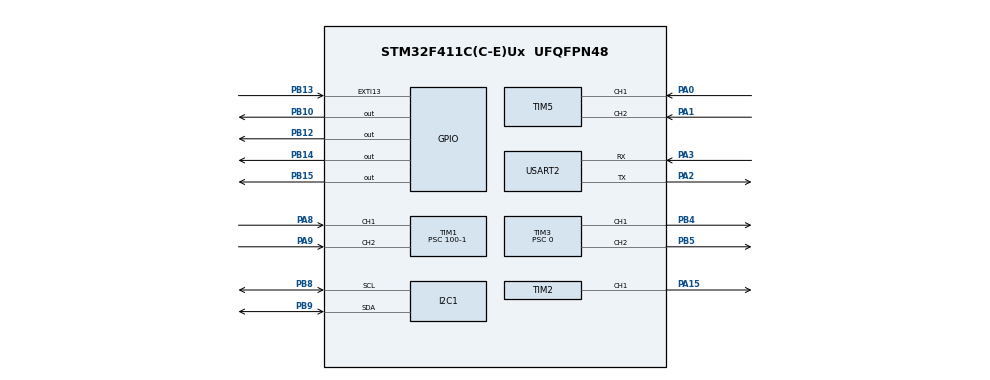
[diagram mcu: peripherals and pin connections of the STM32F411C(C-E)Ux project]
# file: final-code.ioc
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Mcu.Family=STM32F4
Mcu.Name=STM32F411C(C-E)Ux
Mcu.Package=UFQFPN48
NVIC.EXTI15_10_IRQn=true\:0\:0\:false\:false\:true\:true\:true\:true
NVIC.PriorityGroup=NVIC_PRIORITYGROUP_4
NVIC.TIM1_BRK_TIM9_IRQn=true\:0\:0\:false\:false\:true\:true\:true\:true
NVIC.TIM1_CC_IRQn=true\:0\:0\:false\:false\:true\:true\:true\:true
NVIC.TIM1_TRG_COM_TIM11_IRQn=true\:0\:0\:false\:false\:true\:true\:true\:true
NVIC.TIM1_UP_TIM10_IRQn=true\:0\:0\:false\:false\:true\:true\:true\:true
NVIC.TIM5_IRQn=true\:0\:0\:false\:false\:true\:true\:true\:true
PA0-WKUP.Signal=S_TIM5_CH1
PA1.Signal=S_TIM5_CH2
PA13.Mode=Trace_Asynchronous_SW
PA13.Signal=SYS_JTMS-SWDIO
PA14.Mode=Trace_Asynchronous_SW
PA14.Signal=SYS_JTCK-SWCLK
PA15.Signal=S_TIM2_CH1_ETR
PA2.Mode=Asynchronous
PA2.Signal=USART2_TX
PA3.Mode=Asynchronous
PA3.Signal=USART2_RX
PA8.Signal=S_TIM1_CH1
PA9.Signal=S_TIM1_CH2
PB10.Signal=GPIO_Output
PB12.Signal=GPIO_Output
PB13.Signal=GPXTI13
PB14.Signal=GPIO_Output
PB15.Signal=GPIO_Output
PB3.Mode=Trace_Asynchronous_SW
PB3.Signal=SYS_JTDO-SWO
PB4.Signal=S_TIM3_CH1
PB5.Signal=S_TIM3_CH2
PB8.Mode=I2C
PB8.Signal=I2C1_SCL
PB9.Mode=I2C
PB9.Signal=I2C1_SDA
ProjectManager.HeapSize=0x200
ProjectManager.StackSize=0x400
ProjectManager.TargetToolchain=STM32CubeIDE
RCC.48MHZClocksFreq_Value=50000000
RCC.AHBFreq_Value=100000000
RCC.APB1CLKDivider=RCC_HCLK_DIV2
RCC.APB1Freq_Value=50000000
RCC.APB1TimFreq_Value=100000000
RCC.APB2Freq_Value=100000000
RCC.APB2TimFreq_Value=100000000
RCC.CortexFreq_Value=100000000
RCC.HCLKFreq_Value=100000000
RCC.HSE_VALUE=25000000
RCC.HSI_VALUE=16000000
RCC.LSE_VALUE=32768
RCC.PLLM=8
RCC.PLLN=100
RCC.SYSCLKFreq_VALUE=100000000
RCC.SYSCLKSource=RCC_SYSCLKSOURCE_PLLCLK
RCC.VCOOutputFreq_Value=200000000
SH.S_TIM1_CH1.0=TIM1_CH1,Input_Capture1_from_TI1
SH.S_TIM1_CH2.0=TIM1_CH2,Input_Capture2_from_TI2
SH.S_TIM2_CH1_ETR.0=TIM2_CH1,PWM Generation1 CH1
SH.S_TIM3_CH1.0=TIM3_CH1,PWM Generation1 CH1
SH.S_TIM3_CH2.0=TIM3_CH2,PWM Generation2 CH2
SH.S_TIM5_CH1.0=TIM5_CH1,Encoder_Interface
SH.S_TIM5_CH2.0=TIM5_CH2,Encoder_Interface
TIM1.Channel-Input_Capture1_from_TI1=TIM_CHANNEL_1
TIM1.Channel-Input_Capture2_from_TI2=TIM_CHANNEL_2
TIM1.ICPolarity_CH1=TIM_INPUTCHANNELPOLARITY_BOTHEDGE
TIM1.ICPolarity_CH2=TIM_INPUTCHANNELPOLARITY_BOTHEDGE
TIM1.Prescaler=100-1
TIM2.Channel-PWM\ Generation1\ CH1=TIM_CHANNEL_1
TIM2.Period=5000-1
TIM3.Channel-PWM\ Generation1\ CH1=TIM_CHANNEL_1
TIM3.Channel-PWM\ Generation2\ CH2=TIM_CHANNEL_2
TIM3.Period=5000-1
TIM3.Prescaler=0
TIM5.EncoderMode=TIM_ENCODERMODE_TI12
USART2.VirtualMode=VM_ASYNC
VP_TIM1_VS_ClockSourceINT.Mode=Internal
VP_TIM2_VS_ClockSourceINT.Mode=Internal
VP_TIM3_VS_ClockSourceINT.Mode=Internal
board=custom

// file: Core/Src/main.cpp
/* USER CODE BEGIN Header */
/**
  ******************************************************************************
  * @file           : main.c
  * @brief          : Main program body
  ******************************************************************************
  * @attention
  *
  * Copyright (c) 2024 STMicroelectronics.
  * All rights reserved.
  *
  * This software is licensed under terms that can be found in the LICENSE file
  * in the root directory of this software component.
  * If no LICENSE file comes with this software, it is provided AS-IS.
  *
  ******************************************************************************
  */
/* USER CODE END Header */
#include "main.h"

/* USER CODE BEGIN Includes */
#include <stdio.h>
#include <cmath> // for fabs
#include "defines.h"
#include "vl53l0x_api.h" // ToF Sensor API with one small edit for porting to C++.
#include "TB6612FNG_Motor.h"
#include "RCChannel.h"
#include "RemoteControlControl.h"
#include "PololuEncoder.h"
#include "MotorControl.h"
#include "PololuServo.h"
#include "SparkFunAPDS9960.h"
#include "ConveyorBelt.h"
#include "ColoredBlock.h"
/* USER CODE END Includes */

/* USER CODE BEGIN PD */
#define CPU_CLOCK_SPEED_MHZ 100
#define MOTOR_PWM_HZ 20000 // Should be at least 20,000 for hearing protection
#define RC_SIGNAL_PERIOD_US 17500
#define CONTROL_FREQUENCY_HZ 8
/* USER CODE END PD */

I2C_HandleTypeDef hi2c1;

TIM_HandleTypeDef htim1;
TIM_HandleTypeDef htim2;
TIM_HandleTypeDef htim3;
TIM_HandleTypeDef htim5;

UART_HandleTypeDef huart2;

/* USER CODE BEGIN PV */
char my_message[MESSAGE_LENGTH] = "";
int string_length = MESSAGE_LENGTH;
bool initialized = false;

// Pointers
TB6612FNG_Motor* My_Motor;
RCChannel* ThrottleChannel;
RCChannel* SteeringChannel;
RemoteControlControl* Throttle;
RemoteControlControl* Steering;
PololuEncoder* My_Encoder;
MotorControl* My_Controller;
PololuServo* My_Servo;
ConveyorBelt* My_Conveyor;
SparkFun_APDS9960* My_Color_Sensor;
ColoredBlock* My_Block;

// C Data for ToF Sensor
VL53L0X_RangingMeasurementData_t RangingData;
VL53L0X_Dev_t vl53l0x_c; // Center module
VL53L0X_DEV Dev = &vl53l0x_c;

/* USER CODE END PV */

void SystemClock_Config(void);
static void MX_GPIO_Init(void);
static void MX_USART2_UART_Init(void);
static void MX_TIM2_Init(void);
static void MX_TIM5_Init(void);
static void MX_TIM1_Init(void);
static void MX_TIM3_Init(void);
static void MX_I2C1_Init(void);
/* USER CODE BEGIN PFP */
static void VL53L0X_Init(void);
void I2C_Scan(UART_HandleTypeDef* uart_handle);
/* USER CODE END PFP */

/* USER CODE BEGIN 0 */
void HAL_TIM_IC_CaptureCallback(TIM_HandleTypeDef *htim)
{
	if (initialized)
	{
		// The followning must be changed if the pin where the RC receiver is plugged in changes.
		if((htim->Instance = TIM1))
		{
			if ( htim->Channel == HAL_TIM_ACTIVE_CHANNEL_1 )
			{
				SteeringChannel->callback();
			}

			if ( htim->Channel == HAL_TIM_ACTIVE_CHANNEL_2)
			{
				ThrottleChannel->callback();
			}
		}
	}
}
/* USER CODE END 0 */

int main(void)
{

	/* MCU Configuration--------------------------------------------------------*/

	/* Reset of all peripherals, Initializes the Flash interface and the Systick. */
	HAL_Init();

	/* Configure the system clock */
	SystemClock_Config();

	/* Initialize all configured peripherals */
	MX_GPIO_Init();
	MX_USART2_UART_Init();
	MX_TIM2_Init();
	MX_TIM5_Init();
	MX_TIM1_Init();
	MX_TIM3_Init();
	MX_I2C1_Init();
	/* USER CODE BEGIN 2 */
	My_Motor = new TB6612FNG_Motor
		  (
		  GPIOB, GPIO_PIN_14,
		  GPIOB, GPIO_PIN_15,
		  &htim2, TIM_CHANNEL_1,
		  CPU_CLOCK_SPEED_MHZ,
		  MOTOR_PWM_HZ
		  );

	ThrottleChannel = new RCChannel
				  (
				  GPIOA,
				  GPIO_PIN_9,
				  &htim1,
				  TIM_CHANNEL_2,
				  RC_SIGNAL_PERIOD_US,
				  CPU_CLOCK_SPEED_MHZ,
				  1056,  // Calibrated full reverse
				  1533,  // Calibrated neutral
				  2017,  // Calibrated full speed
				  10000,   // New max positive
				  10000,    // New max negative (magnitude)
				  true  // Saturate if signal is over full? True by default. False good for debugging.
				  );

	Throttle = new RemoteControlControl
		  (
		  ThrottleChannel,
		  My_Controller,
		  30
		  );

	SteeringChannel = new RCChannel
		  (
		  GPIOA,
		  GPIO_PIN_8,
		  &htim1,
		  TIM_CHANNEL_1,
		  RC_SIGNAL_PERIOD_US,
		  CPU_CLOCK_SPEED_MHZ,
		  1002,       // Calibrated full right
		  1520,      // Calibrated neutral
		  2035,      // Calibrated full left
		  10000,       // New max positive
		  10000,       // New max negative (magnitude)
		  true     // Saturate if signal is over full? True by default. False good for debugging.
		  );

	My_Encoder = new PololuEncoder
		  (
		  &htim5,
		  20,
		  488.3f,
		  16,
		  false // True doesn't work yet!
		  );

	My_Controller = new MotorControl
		  (
		  My_Motor,
		  My_Encoder,
		  CONTROL_FREQUENCY_HZ,
		  100.0f,
		  650.0f,
		  0.0f
		  );

	My_Servo = new PololuServo
		  (
		  &htim3,
		  TIM_CHANNEL_1,
		  17500,
		  CPU_CLOCK_SPEED_MHZ,
		  false,  // Closed loop mode not implemented yet
		  60,
		  1000,
		  1500,
		  2000
		  );

	My_Conveyor = new ConveyorBelt
			(
			My_Encoder,
			38.1f // mm
			);

	// Color Sensor
	My_Color_Sensor = new SparkFun_APDS9960
			(
			&hi2c1
			);
	My_Color_Sensor->init();
	My_Color_Sensor->disableProximitySensor();
	My_Color_Sensor->disableGestureSensor();
	My_Color_Sensor->enableLightSensor();
	uint16_t ambient_light, red_light, green_light, blue_light;

	// ToF_Sensor in C (Not C++)
	HAL_GPIO_WritePin(GPIOB, GPIO_PIN_10, GPIO_PIN_SET);
	VL53L0X_Init();

	// FSM Overview
	uint8_t task = 0;
	int number_of_states = 5;

	// Don't touch.
	number_of_states += 1;
	uint32_t last_tick_state[number_of_states] = {0};
	uint16_t task_frequencies[number_of_states] = {0};
	uint16_t range_reading = -1;
	bool ready_for_new_block = true;

	// Change the task frequencies here.
	task_frequencies[1] = CONTROL_FREQUENCY_HZ; // Hz
	task_frequencies[2] = 2; // Hz
	task_frequencies[3] = 10; // Hz
	task_frequencies[4] = 2; // Hz

	// Don't touch. Loop to calculate periods based on frequencies
	uint16_t task_periods[number_of_states] = {0};
	for (int index = 0; index < number_of_states; index++)
	{
		if (task_frequencies[index] != 0)
		{
		  task_periods[index] = 1000 / task_frequencies[index];
		}
		else
		{
		  task_periods[index] = 0; // Avoid division by zero
		}
	}

	// Other preferences
	uint16_t block_range_mm = 50; //Threshold
	float distance_from_ToF_to_color_sensor = 42.0f;
	int8_t conveyor_speed = -15;

	/* USER CODE END 2 */

	/* Infinite loop */
	while (1)
	{

	/* USER CODE BEGIN 3 */
	  uint32_t current_tick = HAL_GetTick();

	  switch(task)
	  {
		  case 0:
			  // Init
			  My_Servo->set_position(0);
			  My_Controller->run(0);
			  HAL_Delay(500);
			  initialized = true;

			  // State change
			  task = 1;
			  break;

		  case 1: // RC and Motor Controller
			  int next_task;

			  if (current_tick - last_tick_state[1] >= task_periods[1])
			  {
				  last_tick_state[1] = current_tick;

				  if (-ThrottleChannel->value >= 0.6*ThrottleChannel->rescale_forward_magnitude)
				  {
					 My_Controller->run(conveyor_speed);
					 next_task = 2;
				  }
				  else
				  {
					My_Controller->run(0);
					next_task = 1;
				  }
			  }

			  // State change
			  task = next_task;
			  break;

		  case 2: // ToF Sensor
			  if (current_tick - last_tick_state[2] >= task_periods[2])
			  {
				  last_tick_state[2] = current_tick;

				  // Read ToF Sensor
				  VL53L0X_PerformSingleRangingMeasurement(Dev, &RangingData);

				if(ready_for_new_block)
				{

					if(RangingData.RangeMilliMeter <= block_range_mm)
					{
						// Debug message
						int string_length = sprintf(my_message, "A block was found\r\n");
						HAL_UART_Transmit(&huart2, (uint8_t *)my_message, string_length, HAL_MAX_DELAY);

						// Store the current encoder posiiton for later.
						My_Block->set_home();
						string_length = sprintf(my_message, "Block position: %.3f mm.\r\n", My_Block->home);
						HAL_UART_Transmit(&huart2, (uint8_t *)my_message, string_length, HAL_MAX_DELAY);

						// Stop checking for blocks.
						ready_for_new_block = false;

						// Create a new block instance
						My_Block = new ColoredBlock(My_Conveyor);
					}
				}
			  }

			  // State Changes
			  task = 4;
			  break;

		  case 4: // Color Sensor
			  if (current_tick - last_tick_state[4] >= task_periods[4])
			  {
				  last_tick_state[4] = current_tick;

				  if (not ready_for_new_block)
				  {
					  // Debug message
					  My_Block->update_position();
					  int string_length = sprintf(my_message, "Block position: %.2f mm.\r\n", fabs(My_Block->update_position()));
					  HAL_UART_Transmit(&huart2, (uint8_t *)my_message, string_length, HAL_MAX_DELAY);

					  if (fabs(My_Block->update_position()) >= distance_from_ToF_to_color_sensor)
					  {
						   // Debug message
							string_length = sprintf(my_message, "Block has reached color sensor \r\n");
							HAL_UART_Transmit(&huart2, (uint8_t *)my_message, string_length, HAL_MAX_DELAY);

						  // Update position of block
						  My_Block->update_position();

						  // Read the color sensor
	//						   My_Color_Sensor->readAmbientLight(ambient_light);
	//						   My_Color_Sensor->readRedLight(red_light);
	//						   My_Color_Sensor->readGreenLight(green_light);
	//						   My_Color_Sensor->readBlueLight(blue_light);

							bool success = My_Color_Sensor->readAmbientLight(ambient_light) &&
										   My_Color_Sensor->readRedLight(red_light) &&
										   My_Color_Sensor->readGreenLight(green_light) &&
										   My_Color_Sensor->readBlueLight(blue_light);

							if (success) {
								int string_length = sprintf(my_message, "Ambient: %u, Red: %u, Green: %u, Blue: %u\r\n", ambient_light, red_light, green_light, blue_light);
								HAL_UART_Transmit(&huart2, (uint8_t *)my_message, string_length, HAL_MAX_DELAY);
							} else {
								int string_length = sprintf(my_message, "Error reading light values!\r\n");
								HAL_UART_Transmit(&huart2, (uint8_t *)my_message, string_length, HAL_MAX_DELAY);
							}

						  // Update the color of the block
						  My_Block->update_color(red_light >= 100);

						  // Read for new block
						  ready_for_new_block = true;

						  // Servo Position
						  if (red_light >= 100)
						  {
							  My_Servo->set_position(-35);
						  }
						  else
						  {
							  My_Servo->set_position(40);
						  }

						  // Delete object
						  delete My_Block;
					  }
				  }
			  }

			 // State changes
			 task = 5;
			 break;

		  case 5: // Debug messages
			  if (current_tick - last_tick_state[5] >= task_periods[5])
			  {
				  last_tick_state[5] = current_tick;
				  // My_Controller->debug_message(&huart2);
				  // Throttle->debug_message(&huart2);
	//					bool success = My_Color_Sensor->readAmbientLight(ambient_light) &&
	//								   My_Color_Sensor->readRedLight(red_light) &&
	//								   My_Color_Sensor->readGreenLight(green_light) &&
	//								   My_Color_Sensor->readBlueLight(blue_light);
	//
	//
	//					if (success) {
	//						int string_length = sprintf(my_message, "Ambient: %u, Red: %u, Green: %u, Blue: %u\r\n", ambient_light, red_light, green_light, blue_light);
	//						HAL_UART_Transmit(&huart2, (uint8_t *)my_message, string_length, HAL_MAX_DELAY);
	//					} else {
	//						int string_length = sprintf(my_message, "Error reading light values!\r\n");
	//						HAL_UART_Transmit(&huart2, (uint8_t *)my_message, string_length, HAL_MAX_DELAY);
	//					}
					//	  			  int string_length = sprintf(my_message, "Channel value: %i/%i.\r\n",ThrottleChannel->value,ThrottleChannel->rescale_forward_magnitude);
					//	  			  HAL_UART_Transmit(&huart2, (uint8_t *)my_message, string_length, HAL_MAX_DELAY);

				  // Is a block within range?
				  if (range_reading < block_range_mm)
				  {
					  sprintf(my_message, "A block is within range\r\n");
					  HAL_UART_Transmit(&huart2, (uint8_t*)my_message, MESSAGE_LENGTH, HAL_MAX_DELAY);
				  }
			  }

			  // State change
			  task = 1;
			  break;

		  default:
			  task = 0;
			  break;
	  }
	}
	/* USER CODE END 3 */
	}

	/**
	* @brief System Clock Configuration
	* @retval None
	*/
	void SystemClock_Config(void)
	{
	RCC_OscInitTypeDef RCC_OscInitStruct = {0};
	RCC_ClkInitTypeDef RCC_ClkInitStruct = {0};

	/** Configure the main internal regulator output voltage
	*/
	__HAL_RCC_PWR_CLK_ENABLE();
	__HAL_PWR_VOLTAGESCALING_CONFIG(PWR_REGULATOR_VOLTAGE_SCALE1);

	/** Initializes the RCC Oscillators according to the specified parameters
	* in the RCC_OscInitTypeDef structure.
	*/
	RCC_OscInitStruct.OscillatorType = RCC_OSCILLATORTYPE_HSI;
	RCC_OscInitStruct.HSIState = RCC_HSI_ON;
	RCC_OscInitStruct.HSICalibrationValue = RCC_HSICALIBRATION_DEFAULT;
	RCC_OscInitStruct.PLL.PLLState = RCC_PLL_ON;
	RCC_OscInitStruct.PLL.PLLSource = RCC_PLLSOURCE_HSI;
	RCC_OscInitStruct.PLL.PLLM = 8;
	RCC_OscInitStruct.PLL.PLLN = 100;
	RCC_OscInitStruct.PLL.PLLP = RCC_PLLP_DIV2;
	RCC_OscInitStruct.PLL.PLLQ = 4;
	if (HAL_RCC_OscConfig(&RCC_OscInitStruct) != HAL_OK)
	{
	Error_Handler();
	}

	/** Initializes the CPU, AHB and APB buses clocks
	*/
	RCC_ClkInitStruct.ClockType = RCC_CLOCKTYPE_HCLK|RCC_CLOCKTYPE_SYSCLK
							  |RCC_CLOCKTYPE_PCLK1|RCC_CLOCKTYPE_PCLK2;
	RCC_ClkInitStruct.SYSCLKSource = RCC_SYSCLKSOURCE_PLLCLK;
	RCC_ClkInitStruct.AHBCLKDivider = RCC_SYSCLK_DIV1;
	RCC_ClkInitStruct.APB1CLKDivider = RCC_HCLK_DIV2;
	RCC_ClkInitStruct.APB2CLKDivider = RCC_HCLK_DIV1;

	if (HAL_RCC_ClockConfig(&RCC_ClkInitStruct, FLASH_LATENCY_3) != HAL_OK)
	{
	Error_Handler();
	}
	}

	/**
	* @brief I2C1 Initialization Function
	* @param None
	* @retval None
	*/
	static void MX_I2C1_Init(void)
	{

	hi2c1.Instance = I2C1;
	hi2c1.Init.ClockSpeed = 100000;
	hi2c1.Init.DutyCycle = I2C_DUTYCYCLE_2;
	hi2c1.Init.OwnAddress1 = 0;
	hi2c1.Init.AddressingMode = I2C_ADDRESSINGMODE_7BIT;
	hi2c1.Init.DualAddressMode = I2C_DUALADDRESS_DISABLE;
	hi2c1.Init.OwnAddress2 = 0;
	hi2c1.Init.GeneralCallMode = I2C_GENERALCALL_DISABLE;
	hi2c1.Init.NoStretchMode = I2C_NOSTRETCH_DISABLE;
	if (HAL_I2C_Init(&hi2c1) != HAL_OK)
	{
	Error_Handler();
	}

	}

	/**
	* @brief TIM1 Initialization Function
	* @param None
	* @retval None
	*/
	static void MX_TIM1_Init(void)
	{

	TIM_ClockConfigTypeDef sClockSourceConfig = {0};
	TIM_MasterConfigTypeDef sMasterConfig = {0};
	TIM_IC_InitTypeDef sConfigIC = {0};

	htim1.Instance = TIM1;
	htim1.Init.Prescaler = 100-1;
	htim1.Init.CounterMode = TIM_COUNTERMODE_UP;
	htim1.Init.Period = 65535;
	htim1.Init.ClockDivision = TIM_CLOCKDIVISION_DIV1;
	htim1.Init.RepetitionCounter = 0;
	htim1.Init.AutoReloadPreload = TIM_AUTORELOAD_PRELOAD_DISABLE;
	if (HAL_TIM_Base_Init(&htim1) != HAL_OK)
	{
	Error_Handler();
	}
	sClockSourceConfig.ClockSource = TIM_CLOCKSOURCE_INTERNAL;
	if (HAL_TIM_ConfigClockSource(&htim1, &sClockSourceConfig) != HAL_OK)
	{
	Error_Handler();
	}
	if (HAL_TIM_IC_Init(&htim1) != HAL_OK)
	{
	Error_Handler();
	}
	sMasterConfig.MasterOutputTrigger = TIM_TRGO_RESET;
	sMasterConfig.MasterSlaveMode = TIM_MASTERSLAVEMODE_DISABLE;
	if (HAL_TIMEx_MasterConfigSynchronization(&htim1, &sMasterConfig) != HAL_OK)
	{
	Error_Handler();
	}
	sConfigIC.ICPolarity = TIM_INPUTCHANNELPOLARITY_BOTHEDGE;
	sConfigIC.ICSelection = TIM_ICSELECTION_DIRECTTI;
	sConfigIC.ICPrescaler = TIM_ICPSC_DIV1;
	sConfigIC.ICFilter = 0;
	if (HAL_TIM_IC_ConfigChannel(&htim1, &sConfigIC, TIM_CHANNEL_1) != HAL_OK)
	{
	Error_Handler();
	}
	if (HAL_TIM_IC_ConfigChannel(&htim1, &sConfigIC, TIM_CHANNEL_2) != HAL_OK)
	{
	Error_Handler();
	}

	}

	/**
	* @brief TIM2 Initialization Function
	* @param None
	* @retval None
	*/
	static void MX_TIM2_Init(void)
	{

	TIM_ClockConfigTypeDef sClockSourceConfig = {0};
	TIM_MasterConfigTypeDef sMasterConfig = {0};
	TIM_OC_InitTypeDef sConfigOC = {0};

	htim2.Instance = TIM2;
	htim2.Init.Prescaler = 0;
	htim2.Init.CounterMode = TIM_COUNTERMODE_UP;
	htim2.Init.Period = 5000-1;
	htim2.Init.ClockDivision = TIM_CLOCKDIVISION_DIV1;
	htim2.Init.AutoReloadPreload = TIM_AUTORELOAD_PRELOAD_DISABLE;
	if (HAL_TIM_Base_Init(&htim2) != HAL_OK)
	{
	Error_Handler();
	}
	sClockSourceConfig.ClockSource = TIM_CLOCKSOURCE_INTERNAL;
	if (HAL_TIM_ConfigClockSource(&htim2, &sClockSourceConfig) != HAL_OK)
	{
	Error_Handler();
	}
	if (HAL_TIM_PWM_Init(&htim2) != HAL_OK)
	{
	Error_Handler();
	}
	sMasterConfig.MasterOutputTrigger = TIM_TRGO_RESET;
	sMasterConfig.MasterSlaveMode = TIM_MASTERSLAVEMODE_DISABLE;
	if (HAL_TIMEx_MasterConfigSynchronization(&htim2, &sMasterConfig) != HAL_OK)
	{
	Error_Handler();
	}
	sConfigOC.OCMode = TIM_OCMODE_PWM1;
	sConfigOC.Pulse = 0;
	sConfigOC.OCPolarity = TIM_OCPOLARITY_HIGH;
	sConfigOC.OCFastMode = TIM_OCFAST_DISABLE;
	if (HAL_TIM_PWM_ConfigChannel(&htim2, &sConfigOC, TIM_CHANNEL_1) != HAL_OK)
	{
	Error_Handler();
	}
	HAL_TIM_MspPostInit(&htim2);

	}

	/**
	* @brief TIM3 Initialization Function
	* @param None
	* @retval None
	*/
	static void MX_TIM3_Init(void)
	{

	TIM_ClockConfigTypeDef sClockSourceConfig = {0};
	TIM_MasterConfigTypeDef sMasterConfig = {0};
	TIM_OC_InitTypeDef sConfigOC = {0};

	htim3.Instance = TIM3;
	htim3.Init.Prescaler = 0;
	htim3.Init.CounterMode = TIM_COUNTERMODE_UP;
	htim3.Init.Period = 5000-1;
	htim3.Init.ClockDivision = TIM_CLOCKDIVISION_DIV1;
	htim3.Init.AutoReloadPreload = TIM_AUTORELOAD_PRELOAD_DISABLE;
	if (HAL_TIM_Base_Init(&htim3) != HAL_OK)
	{
	Error_Handler();
	}
	sClockSourceConfig.ClockSource = TIM_CLOCKSOURCE_INTERNAL;
	if (HAL_TIM_ConfigClockSource(&htim3, &sClockSourceConfig) != HAL_OK)
	{
	Error_Handler();
	}
	if (HAL_TIM_PWM_Init(&htim3) != HAL_OK)
	{
	Error_Handler();
	}
	sMasterConfig.MasterOutputTrigger = TIM_TRGO_RESET;
	sMasterConfig.MasterSlaveMode = TIM_MASTERSLAVEMODE_DISABLE;
	if (HAL_TIMEx_MasterConfigSynchronization(&htim3, &sMasterConfig) != HAL_OK)
	{
	Error_Handler();
	}
	sConfigOC.OCMode = TIM_OCMODE_PWM1;
	sConfigOC.Pulse = 0;
	sConfigOC.OCPolarity = TIM_OCPOLARITY_HIGH;
	sConfigOC.OCFastMode = TIM_OCFAST_DISABLE;
	if (HAL_TIM_PWM_ConfigChannel(&htim3, &sConfigOC, TIM_CHANNEL_1) != HAL_OK)
	{
	Error_Handler();
	}
	if (HAL_TIM_PWM_ConfigChannel(&htim3, &sConfigOC, TIM_CHANNEL_2) != HAL_OK)
	{
	Error_Handler();
	}
	HAL_TIM_MspPostInit(&htim3);

	}

	/**
	* @brief TIM5 Initialization Function
	* @param None
	* @retval None
	*/
	static void MX_TIM5_Init(void)
	{

	TIM_Encoder_InitTypeDef sConfig = {0};
	TIM_MasterConfigTypeDef sMasterConfig = {0};

	htim5.Instance = TIM5;
	htim5.Init.Prescaler = 0;
	htim5.Init.CounterMode = TIM_COUNTERMODE_UP;
	htim5.Init.Period = 4294967295;
	htim5.Init.ClockDivision = TIM_CLOCKDIVISION_DIV1;
	htim5.Init.AutoReloadPreload = TIM_AUTORELOAD_PRELOAD_DISABLE;
	sConfig.EncoderMode = TIM_ENCODERMODE_TI12;
	sConfig.IC1Polarity = TIM_ICPOLARITY_RISING;
	sConfig.IC1Selection = TIM_ICSELECTION_DIRECTTI;
	sConfig.IC1Prescaler = TIM_ICPSC_DIV1;
	sConfig.IC1Filter = 0;
	sConfig.IC2Polarity = TIM_ICPOLARITY_RISING;
	sConfig.IC2Selection = TIM_ICSELECTION_DIRECTTI;
	sConfig.IC2Prescaler = TIM_ICPSC_DIV1;
	sConfig.IC2Filter = 0;
	if (HAL_TIM_Encoder_Init(&htim5, &sConfig) != HAL_OK)
	{
	Error_Handler();
	}
	sMasterConfig.MasterOutputTrigger = TIM_TRGO_RESET;
	sMasterConfig.MasterSlaveMode = TIM_MASTERSLAVEMODE_DISABLE;
	if (HAL_TIMEx_MasterConfigSynchronization(&htim5, &sMasterConfig) != HAL_OK)
	{
	Error_Handler();
	}

	}

	/**
	* @brief USART2 Initialization Function
	* @param None
	* @retval None
	*/
	static void MX_USART2_UART_Init(void)
	{

	huart2.Instance = USART2;
	huart2.Init.BaudRate = 115200;
	huart2.Init.WordLength = UART_WORDLENGTH_8B;
	huart2.Init.StopBits = UART_STOPBITS_1;
	huart2.Init.Parity = UART_PARITY_NONE;
	huart2.Init.Mode = UART_MODE_TX_RX;
	huart2.Init.HwFlowCtl = UART_HWCONTROL_NONE;
	huart2.Init.OverSampling = UART_OVERSAMPLING_16;
	if (HAL_UART_Init(&huart2) != HAL_OK)
	{
	Error_Handler();
	}

	}

	/**
	* @brief GPIO Initialization Function
	* @param None
	* @retval None
	*/
	static void MX_GPIO_Init(void)
	{
	GPIO_InitTypeDef GPIO_InitStruct = {0};

	/* GPIO Ports Clock Enable */
	__HAL_RCC_GPIOA_CLK_ENABLE();
	__HAL_RCC_GPIOB_CLK_ENABLE();

	/*Configure GPIO pin Output Level */
	HAL_GPIO_WritePin(GPIOB, GPIO_PIN_10|GPIO_PIN_12|GPIO_PIN_14|GPIO_PIN_15, GPIO_PIN_RESET);

	/*Configure GPIO pins : PB10 PB12 PB14 PB15 */
	GPIO_InitStruct.Pin = GPIO_PIN_10|GPIO_PIN_12|GPIO_PIN_14|GPIO_PIN_15;
	GPIO_InitStruct.Mode = GPIO_MODE_OUTPUT_PP;
	GPIO_InitStruct.Pull = GPIO_NOPULL;
	GPIO_InitStruct.Speed = GPIO_SPEED_FREQ_LOW;
	HAL_GPIO_Init(GPIOB, &GPIO_InitStruct);

	/*Configure GPIO pin : PB13 */
	GPIO_InitStruct.Pin = GPIO_PIN_13;
	GPIO_InitStruct.Mode = GPIO_MODE_IT_RISING;
	GPIO_InitStruct.Pull = GPIO_NOPULL;
	HAL_GPIO_Init(GPIOB, &GPIO_InitStruct);

	/* EXTI interrupt init*/
	HAL_NVIC_SetPriority(EXTI15_10_IRQn, 0, 0);
	HAL_NVIC_EnableIRQ(EXTI15_10_IRQn);

}

/* USER CODE BEGIN 4 */
void I2C_Scan(UART_HandleTypeDef* uart_handle) {

	// Start
    sprintf(my_message, "Scanning...\r\n");
    HAL_UART_Transmit(uart_handle, (uint8_t*)my_message, strlen(my_message), HAL_MAX_DELAY);

    // Find
    for (uint8_t i = 1; i < 128; i++)
    {
        HAL_StatusTypeDef result = HAL_I2C_IsDeviceReady(&hi2c1, (uint16_t)(i << 1), 1, 10);
        if (result == HAL_OK) {
            snprintf(my_message, sizeof(my_message), "Device found at address 0x%02X\r\n", i);
            HAL_UART_Transmit(&huart2, (uint8_t*)my_message, strlen(my_message), HAL_MAX_DELAY);
        }
    }

    // Finsish
    sprintf(my_message, "Done.\r\n\r\n");
    HAL_UART_Transmit(&huart2, (uint8_t*) my_message, strlen(my_message), HAL_MAX_DELAY);
    HAL_Delay(1000); // Unnecessary
}

// VL53L0X time-of-flight sensor initialization
static void VL53L0X_Init(void) {
	uint32_t refSpadCount;
	uint8_t isApertureSpads;
	uint8_t VhvSettings;
	uint8_t PhaseCal;

	Dev->I2cHandle = &hi2c1;
	Dev->I2cDevAddr = 0x29 << 1;

	VL53L0X_WaitDeviceBooted(Dev);
	VL53L0X_DataInit(Dev);
	VL53L0X_StaticInit(Dev);
	VL53L0X_PerformRefCalibration(Dev, &VhvSettings, &PhaseCal);
	VL53L0X_PerformRefSpadManagement(Dev, &refSpadCount, &isApertureSpads);
	VL53L0X_SetDeviceMode(Dev, VL53L0X_DEVICEMODE_SINGLE_RANGING);

	VL53L0X_SetLimitCheckEnable(Dev, VL53L0X_CHECKENABLE_SIGMA_FINAL_RANGE, 1);
	VL53L0X_SetLimitCheckEnable(Dev, VL53L0X_CHECKENABLE_SIGNAL_RATE_FINAL_RANGE, 1);
	VL53L0X_SetLimitCheckValue(Dev, VL53L0X_CHECKENABLE_SIGNAL_RATE_FINAL_RANGE, (FixPoint1616_t) (0.1*65536));
	VL53L0X_SetLimitCheckValue(Dev, VL53L0X_CHECKENABLE_SIGMA_FINAL_RANGE, (FixPoint1616_t) (60*65536));
	VL53L0X_SetMeasurementTimingBudgetMicroSeconds(Dev, 33000);
	VL53L0X_SetVcselPulsePeriod(Dev, VL53L0X_VCSEL_PERIOD_PRE_RANGE, 18);
	VL53L0X_SetVcselPulsePeriod(Dev, VL53L0X_VCSEL_PERIOD_FINAL_RANGE, 14);
}

/* USER CODE END 4 */

void Error_Handler(void)
{
  __disable_irq();
  while (1)
  {
  }
}
